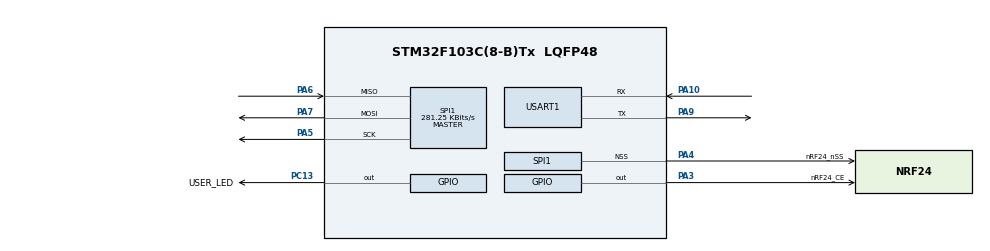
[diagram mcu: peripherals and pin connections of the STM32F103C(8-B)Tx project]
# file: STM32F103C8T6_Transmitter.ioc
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Mcu.Family=STM32F1
Mcu.Name=STM32F103C(8-B)Tx
Mcu.Package=LQFP48
NVIC.PriorityGroup=NVIC_PRIORITYGROUP_4
PA10.Mode=Asynchronous
PA10.Signal=USART1_RX
PA13.Mode=Serial_Wire
PA13.Signal=SYS_JTMS-SWDIO
PA14.Mode=Serial_Wire
PA14.Signal=SYS_JTCK-SWCLK
PA3.GPIO_Label=nRF24_CE
PA3.GPIO_PuPd=GPIO_PULLUP
PA3.Signal=GPIO_Output
PA4.GPIO_Label=nRF24_nSS
PA4.Mode=NSS_Signal_Hard_Output
PA4.Signal=SPI1_NSS
PA5.Mode=Full_Duplex_Master
PA5.Signal=SPI1_SCK
PA6.Mode=Full_Duplex_Master
PA6.Signal=SPI1_MISO
PA7.Mode=Full_Duplex_Master
PA7.Signal=SPI1_MOSI
PA9.Mode=Asynchronous
PA9.Signal=USART1_TX
PC13-TAMPER-RTC.GPIO_Label=USER_LED
PC13-TAMPER-RTC.GPIO_PuPd=GPIO_PULLUP
PC13-TAMPER-RTC.Signal=GPIO_Output
PC14-OSC32_IN.Mode=LSE-External-Oscillator
PC14-OSC32_IN.Signal=RCC_OSC32_IN
PC15-OSC32_OUT.Mode=LSE-External-Oscillator
PC15-OSC32_OUT.Signal=RCC_OSC32_OUT
PD0-OSC_IN.Mode=HSE-External-Oscillator
PD0-OSC_IN.Signal=RCC_OSC_IN
PD1-OSC_OUT.Mode=HSE-External-Oscillator
PD1-OSC_OUT.Signal=RCC_OSC_OUT
ProjectManager.HeapSize=0x200
ProjectManager.StackSize=0x400
ProjectManager.TargetToolchain=MDK-ARM V5.32
RCC.AHBFreq_Value=72000000
RCC.APB1CLKDivider=RCC_HCLK_DIV2
RCC.APB1Freq_Value=36000000
RCC.APB1TimFreq_Value=72000000
RCC.APB2Freq_Value=72000000
RCC.APB2TimFreq_Value=72000000
RCC.HCLKFreq_Value=72000000
RCC.PLLMUL=RCC_PLL_MUL9
RCC.PLLSourceVirtual=RCC_PLLSOURCE_HSE
RCC.SYSCLKFreq_VALUE=72000000
RCC.SYSCLKSource=RCC_SYSCLKSOURCE_PLLCLK
RCC.USBFreq_Value=72000000
SPI1.BaudRatePrescaler=SPI_BAUDRATEPRESCALER_256
SPI1.CalculateBaudRate=281.25 KBits/s
SPI1.Direction=SPI_DIRECTION_2LINES
SPI1.Mode=SPI_MODE_MASTER
SPI1.VirtualNSS=VM_NSSHARD
SPI1.VirtualType=VM_MASTER
USART1.VirtualMode=VM_ASYNC
board=custom

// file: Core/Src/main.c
/* USER CODE BEGIN Header */
/**
 ******************************************************************************
 * @file           : main.c
 * @brief          : Main program body
 ******************************************************************************
 * @attention
 *
 * Copyright (c) 2024 STMicroelectronics.
 * All rights reserved.
 *
 * This software is licensed under terms that can be found in the LICENSE file
 * in the root directory of this software component.
 * If no LICENSE file comes with this software, it is provided AS-IS.
 *
 ******************************************************************************
 */
/* USER CODE END Header */
#include "main.h"
#include "spi.h"
#include "usart.h"
#include "gpio.h"

/* USER CODE BEGIN Includes */

#include "nRF24L01P.h"

/* USER CODE END Includes */

/* USER CODE BEGIN PV */

nRF24L01P     myNRF;
const uint8_t RXAddr[ 5 ]  = { 0xE7, 0xE7, 0xE7, 0xE7, 0xE7 };
const uint8_t TXAddr[ 5 ]  = { 0xE7, 0xE7, 0xE7, 0xE7, 0xE7 };
const uint8_t TXData[ 32 ] = "PICProje@Cemre.\nnRF24L01Library\n";

uint8_t RXBuffer[ 32 ], TXBuffer[ 32 ], regStatus, i;
/* USER CODE END PV */

void SystemClock_Config( void );

int main( void ) {

    /* MCU Configuration--------------------------------------------------------*/

    /* Reset of all peripherals, Initializes the Flash interface and the Systick. */
    HAL_Init();

    /* Configure the system clock */
    SystemClock_Config();

    /* Initialize all configured peripherals */
    MX_GPIO_Init();
    MX_SPI1_Init();
    MX_USART1_UART_Init();
    /* USER CODE BEGIN 2 */
    /* ---- myNRF24L01+ Definitions ---- */
    myNRF.hspi       = &hspi1;  // You should make this definition at CubeMX
    myNRF.CRC_Width  = nRF_CRC_WIDTH_BYTE;
    myNRF.ADDR_Width = nRF_ADDR_WIDTH_5;
    myNRF.Data_Rate  = nRF_DATA_RATE_2MBPS;
    myNRF.TX_Power   = nRF_TX_PWR_0dBm;
    myNRF.State      = nRF_STATE_TX;

    myNRF.RF_Channel      = 2;
    myNRF.PayloadWidth    = nRF_RXPW_32BYTES;
    myNRF.RetransmitCount = nRF_RETX_COUNT_5;
    myNRF.RetransmitDelay = nRF_RETX_DELAY_1000uS;

    myNRF.RX_Address = ( uint8_t* )RXAddr;
    myNRF.TX_Address = ( uint8_t* )TXAddr;

    myNRF.RX_Buffer = RXBuffer;
    myNRF.TX_Buffer = TXBuffer;

    myNRF.nRF_nSS_GPIO_PORT = nRF24_nSS_GPIO_Port;  // You should make this definition at CubeMX
    myNRF.nRF_nSS_GPIO_PIN  = nRF24_nSS_Pin;        // You should make this definition at CubeMX

    myNRF.nRF_CE_GPIO_PORT = nRF24_CE_GPIO_Port;  // You should make this definition at CubeMX
    myNRF.nRF_CE_GPIO_PIN  = nRF24_CE_Pin;        // You should make this definition at CubeMX
    /* ---- myNRF24L01+ Definitions ---- */

    if ( HAL_nRF24L01P_Init( &myNRF ) != HAL_OK ) {
        HAL_GPIO_WritePin( USER_LED_GPIO_Port, USER_LED_Pin, GPIO_PIN_SET );
        HAL_UART_Transmit( &huart1, ( uint8_t* )"nRF24 Init fucked UP!\r\n", 23, 250 );
        Error_Handler();
    }
    else {
        HAL_GPIO_WritePin( USER_LED_GPIO_Port, USER_LED_Pin, GPIO_PIN_RESET );
        HAL_UART_Transmit( &huart1, ( uint8_t* )"nRF24 Init is OK!\r\n", 19, 250 );
    }

    /* USER CODE END 2 */

    /* Infinite loop */
    while ( 1 ) {

        /* USER CODE BEGIN 3 */
        if ( !myNRF.Busy ) {
            if ( HAL_nRF24L01P_TransmitPacketACK( &myNRF, ( uint8_t* )TXData, nRF_DATA_PIPE_0 ) != HAL_OK ) {
                Error_Handler();
            }
        }
        HAL_Delay( 250 );
    }
    /* USER CODE END 3 */
}

void SystemClock_Config( void ) {
    RCC_OscInitTypeDef RCC_OscInitStruct = { 0 };
    RCC_ClkInitTypeDef RCC_ClkInitStruct = { 0 };

    /** Initializes the RCC Oscillators according to the specified parameters
     * in the RCC_OscInitTypeDef structure.
     */
    RCC_OscInitStruct.OscillatorType = RCC_OSCILLATORTYPE_HSE;
    RCC_OscInitStruct.HSEState       = RCC_HSE_ON;
    RCC_OscInitStruct.HSEPredivValue = RCC_HSE_PREDIV_DIV1;
    RCC_OscInitStruct.HSIState       = RCC_HSI_ON;
    RCC_OscInitStruct.PLL.PLLState   = RCC_PLL_ON;
    RCC_OscInitStruct.PLL.PLLSource  = RCC_PLLSOURCE_HSE;
    RCC_OscInitStruct.PLL.PLLMUL     = RCC_PLL_MUL9;
    if ( HAL_RCC_OscConfig( &RCC_OscInitStruct ) != HAL_OK ) {
        Error_Handler();
    }

    /** Initializes the CPU, AHB and APB buses clocks
     */
    RCC_ClkInitStruct.ClockType      = RCC_CLOCKTYPE_HCLK | RCC_CLOCKTYPE_SYSCLK | RCC_CLOCKTYPE_PCLK1 | RCC_CLOCKTYPE_PCLK2;
    RCC_ClkInitStruct.SYSCLKSource   = RCC_SYSCLKSOURCE_PLLCLK;
    RCC_ClkInitStruct.AHBCLKDivider  = RCC_SYSCLK_DIV1;
    RCC_ClkInitStruct.APB1CLKDivider = RCC_HCLK_DIV2;
    RCC_ClkInitStruct.APB2CLKDivider = RCC_HCLK_DIV1;

    if ( HAL_RCC_ClockConfig( &RCC_ClkInitStruct, FLASH_LATENCY_2 ) != HAL_OK ) {
        Error_Handler();
    }
}

void Error_Handler( void ) {
    /* USER CODE BEGIN Error_Handler_Debug */
    /* User can add his own implementation to report the HAL error return state */
    __disable_irq();
    while ( 1 ) {

        HAL_GPIO_TogglePin( USER_LED_GPIO_Port, USER_LED_Pin );
        HAL_Delay( 100 );
    }
    /* USER CODE END Error_Handler_Debug */
}
